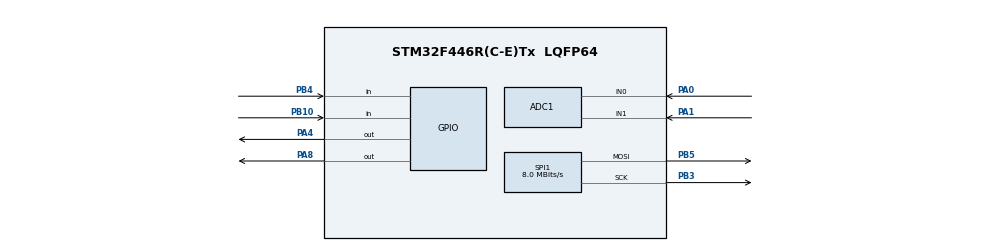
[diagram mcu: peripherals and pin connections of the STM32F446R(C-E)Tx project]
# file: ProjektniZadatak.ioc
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ADC1.Channel-0\#ChannelRegularConversion=ADC_CHANNEL_0
ADC1.Channel-1\#ChannelRegularConversion=ADC_CHANNEL_1
ADC1.ContinuousConvMode=DISABLE
ADC1.NbrOfConversion=2
ADC1.NbrOfConversionFlag=1
ADC1.Rank-0\#ChannelRegularConversion=1
ADC1.Rank-1\#ChannelRegularConversion=2
ADC1.SamplingTime-0\#ChannelRegularConversion=ADC_SAMPLETIME_84CYCLES
ADC1.SamplingTime-1\#ChannelRegularConversion=ADC_SAMPLETIME_84CYCLES
ADC1.master=1
Mcu.Family=STM32F4
Mcu.Name=STM32F446R(C-E)Tx
Mcu.Package=LQFP64
NVIC.PriorityGroup=NVIC_PRIORITYGROUP_4
PA0-WKUP.Signal=ADCx_IN0
PA1.Signal=ADCx_IN1
PA13.Mode=Serial_Wire
PA13.Signal=SYS_JTMS-SWDIO
PA14.Mode=Serial_Wire
PA14.Signal=SYS_JTCK-SWCLK
PA4.Signal=GPIO_Output
PA8.Signal=GPIO_Output
PB10.Signal=GPIO_Input
PB3.Mode=TX_Only_Simplex_Unidirect_Master
PB3.Signal=SPI1_SCK
PB4.Signal=GPIO_Input
PB5.Mode=TX_Only_Simplex_Unidirect_Master
PB5.Signal=SPI1_MOSI
ProjectManager.HeapSize=0x200
ProjectManager.StackSize=0x400
ProjectManager.TargetToolchain=STM32CubeIDE
RCC.CortexFreq_Value=16000000
RCC.USBFreq_Value=96000000
RCC.VCOOutputFreq_Value=192000000
SH.ADCx_IN0.0=ADC1_IN0,IN0
SH.ADCx_IN1.0=ADC1_IN1,IN1
SPI1.CalculateBaudRate=8.0 MBits/s
SPI1.Direction=SPI_DIRECTION_2LINES
SPI1.Mode=SPI_MODE_MASTER
SPI1.VirtualType=VM_MASTER
board=custom

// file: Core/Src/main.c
/* USER CODE BEGIN Header */
/**
  ******************************************************************************
  * @file           : main.c
  * @brief          : Main program body
  ******************************************************************************
  * @attention
  *
  * Copyright (c) 2026 STMicroelectronics.
  * All rights reserved.
  *
  * This software is licensed under terms that can be found in the LICENSE file
  * in the root directory of this software component.
  * If no LICENSE file comes with this software, it is provided AS-IS.
  *
  ******************************************************************************
  */
/* USER CODE END Header */
#include "main.h"
#include "adc.h"
#include "spi.h"
#include "gpio.h"

/* USER CODE BEGIN Includes */
void MAX_Send(uint8_t addr, uint8_t data)
{
    uint8_t tx[2] = {addr, data};

    HAL_GPIO_WritePin(GPIOA, GPIO_PIN_4, GPIO_PIN_RESET);
    HAL_SPI_Transmit(&hspi1, tx, 2, HAL_MAX_DELAY);
    HAL_GPIO_WritePin(GPIOA, GPIO_PIN_4, GPIO_PIN_SET);
}

void MAX_Init(void)
{
    MAX_Send(0x0F, 0x00); // test off
    MAX_Send(0x09, 0x00); // matrix mode
    MAX_Send(0x0B, 0x07); // scan all rows
    MAX_Send(0x0A, 0x08); // brightness
    MAX_Send(0x0C, 0x01); // normal mode ON
}

void MAX_Draw(uint8_t *buf)
{
    for (uint8_t i = 0; i < 8; i++)
    {
        MAX_Send(i + 1, buf[i]);
    }
}

uint8_t on[8]  = {0xFF,0xFF,0xFF,0xFF,0xFF,0xFF,0xFF,0xFF};
uint8_t Pos_1[8] = {0b10000000, 0b10000000, 0b00000000, 0b00000000,
		0b00000000, 0b00000000, 0b00000000, 0b00000000
};
uint8_t Pos_2[8] = {0b00000000, 0b10000000, 0b10000000, 0b00000000,
		0b00000000, 0b00000000, 0b00000000, 0b00000000
};
uint8_t Pos_3[8] = {0b00000000, 0b00000000, 0b10000000, 0b10000000,
		0b00000000, 0b00000000, 0b00000000, 0b00000000
};
uint8_t Pos_4[8] = {0b00000000, 0b00000000, 0b00000000, 0b10000000,
		0b10000000, 0b00000000, 0b00000000, 0b00000000};
uint8_t Pos_5[8] = {0b00000000, 0b00000000, 0b00000000, 0b00000000,
		0b10000000, 0b10000000, 0b00000000, 0b00000000
};
uint8_t Pos_6[8] = {0b00000000, 0b00000000, 0b00000000, 0b00000000,
		0b00000000, 0b10000000, 0b10000000, 0b00000000
};
uint8_t Pos_7[8] = {
		0b00000000, 0b00000000, 0b00000000, 0b00000000,
		0b00000000, 0b00000000, 0b10000000, 0b10000000
};
uint8_t smile[8] = {
    0b00111100, 0b01000010, 0b10100101, 0b10000001,
    0b10100101, 0b10011001, 0b01000010, 0b00111100
};
uint8_t num1[8] = {
    0b00011000, 0b00111000, 0b00011000, 0b00011000,
    0b00011000, 0b00011000, 0b00111100, 0b00000000
};
uint8_t num2[8] = {
    0b00111100, 0b01000010, 0b00000010, 0b00001100,
    0b00110000, 0b01000000, 0b01111110, 0b00000000
};
uint8_t num3[8] = {
    0b00111100, 0b01000010, 0b00000010, 0b00011100,
    0b00000010, 0b01000010, 0b00111100, 0b00000000
};
uint8_t off[8] = {0};

const uint8_t small_num_L[10][5] = {
    {0xE0, 0xA0, 0xA0, 0xA0, 0xE0}, // 0
    {0x40, 0xC0, 0x40, 0x40, 0xE0}, // 1
    {0xE0, 0x20, 0xE0, 0x80, 0xE0}, // 2
    {0xE0, 0x20, 0xE0, 0x20, 0xE0}, // 3
    {0xA0, 0xA0, 0xE0, 0x20, 0x20}, // 4
    {0xE0, 0x80, 0xE0, 0x20, 0xE0}, // 5
    {0xE0, 0x80, 0xE0, 0xA0, 0xE0}, // 6
    {0xE0, 0x20, 0x20, 0x20, 0x20}, // 7
    {0xE0, 0xA0, 0xE0, 0xA0, 0xE0}, // 8
    {0xE0, 0xA0, 0xE0, 0x20, 0xE0}  // 9
};

const uint8_t small_num_R[10][5] = {
    {0x0E, 0x0A, 0x0A, 0x0A, 0x0E}, // 0
    {0x04, 0x0C, 0x04, 0x04, 0x0E}, // 1
    {0x0E, 0x02, 0x0E, 0x08, 0x0E}, // 2
    {0x0E, 0x02, 0x0E, 0x02, 0x0E}, // 3
    {0x0A, 0x0A, 0x0E, 0x02, 0x02}, // 4
    {0x0E, 0x08, 0x0E, 0x02, 0x0E}, // 5
    {0x0E, 0x08, 0x0E, 0x0A, 0x0E}, // 6
    {0x0E, 0x02, 0x02, 0x02, 0x02}, // 7
    {0x0E, 0x0A, 0x0E, 0x0A, 0x0E}, // 8
    {0x0E, 0x0A, 0x0E, 0x02, 0x0E}  // 9
};
/* USER CODE END Includes */

/* USER CODE BEGIN PV */
uint8_t scoreP1 = 0;
uint8_t scoreP2 = 0;

uint8_t isPaused = 0;
uint8_t lastPause = 1;
uint8_t lastReset = 1;
/* USER CODE END PV */

void SystemClock_Config(void);

/* USER CODE BEGIN 0 */
void PlayTon(uint16_t frequency, uint16_t duration_ms)
{
    if (frequency == 0) return;

    uint32_t delay_us = 1000000 / (frequency * 2);
    uint32_t cycles = ((uint32_t)frequency * duration_ms) / 1000;

    for (uint32_t i = 0; i < cycles; i++)
    {
        HAL_GPIO_WritePin(GPIOA, GPIO_PIN_8, GPIO_PIN_SET);
        for (volatile uint32_t d = 0; d < delay_us * 2; d++) { __NOP(); }

        HAL_GPIO_WritePin(GPIOA, GPIO_PIN_8, GPIO_PIN_RESET);
        for (volatile uint32_t d = 0; d < delay_us * 2; d++) { __NOP(); }
    }
}

void ShowScore(uint8_t score1, uint8_t score2) {
    uint8_t buf[8] = {0};
    if (score1 > 9) score1 = 9;
    if (score2 > 9) score2 = 9;

    for (int i = 0; i < 5; i++) {
        buf[i + 1] = small_num_L[score1][i] | small_num_R[score2][i];
    }
    MAX_Draw(buf);
}
/* USER CODE END 0 */

int main(void)
{

  /* USER CODE BEGIN 1 */
	uint32_t pot1 = 0;
	uint32_t pot2 = 0;

	// Stanje loptice (Kreće s centra)
	int8_t ballX = 3;
	int8_t ballY = 3;
	int8_t ballDx = 1;
	int8_t ballDy = 0;

	uint32_t ballTimer = 0;
  /* USER CODE END 1 */

  /* MCU Configuration--------------------------------------------------------*/

  /* Reset of all peripherals, Initializes the Flash interface and the Systick. */
  HAL_Init();

  /* Configure the system clock */
  SystemClock_Config();

  /* Initialize all configured peripherals */
  MX_GPIO_Init();
  MX_ADC1_Init();
  MX_SPI1_Init();
  /* USER CODE BEGIN 2 */
  HAL_GPIO_WritePin(GPIOA, GPIO_PIN_4, GPIO_PIN_SET);
  HAL_Delay(100);

  MAX_Init();

  MAX_Draw(num3); HAL_Delay(500);
  MAX_Draw(num2); HAL_Delay(500);
  MAX_Draw(num1); HAL_Delay(500);
  MAX_Draw(off);  HAL_Delay(100);

  ballTimer = HAL_GetTick();
  /* USER CODE END 2 */

  /* Infinite loop */
  while (1)
  {

    /* USER CODE BEGIN 3 */

	  uint8_t pauseButton = HAL_GPIO_ReadPin(GPIOB, GPIO_PIN_10);
	  uint8_t resetButton = HAL_GPIO_ReadPin(GPIOB, GPIO_PIN_4);

	  //Pauza
	  if (lastPause == 1 && pauseButton == 0) {
	      isPaused = !isPaused;
	      PlayTon(2500, 40);
	      HAL_Delay(150);
	  }
	  lastPause = pauseButton;

	  //Restart
	  if (lastReset == 1 && resetButton == 0) {
	      isPaused = 0;
	      scoreP1 = 0; scoreP2 = 0;
	      ballX = 3; ballY = 3;
	      ballDx = 1; ballDy = 0;

	      PlayTon(3500, 100);

	      MAX_Draw(off);  HAL_Delay(100);
	      MAX_Draw(num3); HAL_Delay(400);
	      MAX_Draw(num2); HAL_Delay(400);
	      MAX_Draw(num1); HAL_Delay(400);

	      ballTimer = HAL_GetTick();
	      HAL_Delay(150);
	  }
	  lastReset = resetButton;

	  HAL_ADC_Start(&hadc1);
	  if (HAL_ADC_PollForConversion(&hadc1, 10) == HAL_OK) {
	      pot1 = HAL_ADC_GetValue(&hadc1);
	  }
	  if (HAL_ADC_PollForConversion(&hadc1, 10) == HAL_OK) {
	      pot2 = HAL_ADC_GetValue(&hadc1);
	  }
	  HAL_ADC_Stop(&hadc1);

	  uint8_t *p1_pos;
	  uint8_t *p2_pos;
	  uint8_t zaslon[8] = {0};

	  //pozicije palice 1. igrac
	  if      (pot1 <= 585)  p1_pos = Pos_1;
	  else if (pot1 <= 1170) p1_pos = Pos_2;
	  else if (pot1 <= 1755) p1_pos = Pos_3;
	  else if (pot1 <= 2340) p1_pos = Pos_4;
	  else if (pot1 <= 2925) p1_pos = Pos_5;
	  else if (pot1 <= 3510) p1_pos = Pos_6;
	  else                   p1_pos = Pos_7;

	  //pozicije palice 2. igraca
	  if      (pot2 <= 585)  p2_pos = Pos_1;
	  else if (pot2 <= 1170) p2_pos = Pos_2;
	  else if (pot2 <= 1755) p2_pos = Pos_3;
	  else if (pot2 <= 2340) p2_pos = Pos_4;
	  else if (pot2 <= 2925) p2_pos = Pos_5;
	  else if (pot2 <= 3510) p2_pos = Pos_6;
	  else                   p2_pos = Pos_7;

	  if (isPaused) {
	      for (int i = 0; i < 8; i++) {
	          zaslon[i] = p1_pos[i] | (p2_pos[i] >> 7);
	          if (ballY == i) zaslon[i] |= (0x80 >> ballX);
	      }
	      MAX_Draw(zaslon);
	      HAL_Delay(20);
	      continue;
	  }

	  if (HAL_GetTick() - ballTimer > 150) {
	      ballTimer = HAL_GetTick();

	      ballX += ballDx;
	      ballY += ballDy;

	      if (ballY <= 0) {
	          ballY = 0;
	          PlayTon(600, 15);
	          if (ballDy < 0) ballDy = -ballDy;
	      }

	      else if (ballY >= 7) {
	          ballY = 7;
	          PlayTon(600, 15);
	          if (ballDy > 0) ballDy = -ballDy;
	      }

	      //Igrac 1
	      if (ballX == 0) {
	          if (p1_pos[ballY] & 0x80) { //obrana
	              ballDx = 1;
	              PlayTon(1000, 25);
	              ballDy = (HAL_GetTick() % 5) - 2;
	          } else {
	              //gol
	              scoreP2++;
	              PlayTon(200, 300);

	              if (scoreP2 >= 10) { // POBJEDA IGRAČA 2
	                  PlayTon(2000, 100); HAL_Delay(50);
	                  PlayTon(2500, 100); HAL_Delay(50);
	                  PlayTon(3500, 300);
	                  MAX_Draw(smile); HAL_Delay(3000);
	                  scoreP1 = 0; scoreP2 = 0;
	              } else {
	                  ShowScore(scoreP1, scoreP2);
	                  HAL_Delay(1500);
	              }

	              ballX = 3; ballY = 3;
	              ballDx = 1;
	              ballDy = 0;

	              MAX_Draw(off);  HAL_Delay(100);
	              MAX_Draw(num3); HAL_Delay(500);
	              MAX_Draw(num2); HAL_Delay(500);
	              MAX_Draw(num1); HAL_Delay(500);
	              ballTimer = HAL_GetTick();
	          }
	      }

	      //Igrac 2
	      if (ballX == 7) {
	          if (p2_pos[ballY] & 0x80) { //obrana
	              ballDx = -1;
	              PlayTon(1000, 25);
	              ballDy = (HAL_GetTick() % 5) - 2;
	          } else {
	              //gol
	              scoreP1++;
	              PlayTon(200, 300);

	              if (scoreP1 >= 10) {
	                  PlayTon(2000, 100); HAL_Delay(50);
	                  PlayTon(2500, 100); HAL_Delay(50);
	                  PlayTon(3500, 300);
	                  MAX_Draw(smile); HAL_Delay(3000);
	                  scoreP1 = 0; scoreP2 = 0;
	              } else {
	                  ShowScore(scoreP1, scoreP2);
	                  HAL_Delay(1500);
	              }

	              ballX = 3; ballY = 3;
	              ballDx = -1;
	              ballDy = 0;

	              MAX_Draw(off);  HAL_Delay(100);
	              MAX_Draw(num3); HAL_Delay(500);
	              MAX_Draw(num2); HAL_Delay(500);
	              MAX_Draw(num1); HAL_Delay(500);
	              ballTimer = HAL_GetTick();
	          }
	      }
	  }

	  for (int i = 0; i < 8; i++) {
	      zaslon[i] = p1_pos[i] | (p2_pos[i] >> 7);

	      if (ballY == i) {
	          zaslon[i] |= (0x80 >> ballX);
	      }
	  }

	  MAX_Draw(zaslon);
	  HAL_Delay(20);
  }
  /* USER CODE END 3 */
}

void SystemClock_Config(void)
{
  RCC_OscInitTypeDef RCC_OscInitStruct = {0};
  RCC_ClkInitTypeDef RCC_ClkInitStruct = {0};

  /** Configure the main internal regulator output voltage
  */
  __HAL_RCC_PWR_CLK_ENABLE();
  __HAL_PWR_VOLTAGESCALING_CONFIG(PWR_REGULATOR_VOLTAGE_SCALE3);

  /** Initializes the RCC Oscillators according to the specified parameters
  * in the RCC_OscInitTypeDef structure.
  */
  RCC_OscInitStruct.OscillatorType = RCC_OSCILLATORTYPE_HSI;
  RCC_OscInitStruct.HSIState = RCC_HSI_ON;
  RCC_OscInitStruct.HSICalibrationValue = RCC_HSICALIBRATION_DEFAULT;
  RCC_OscInitStruct.PLL.PLLState = RCC_PLL_NONE;
  if (HAL_RCC_OscConfig(&RCC_OscInitStruct) != HAL_OK)
  {
    Error_Handler();
  }

  /** Initializes the CPU, AHB and APB buses clocks
  */
  RCC_ClkInitStruct.ClockType = RCC_CLOCKTYPE_HCLK|RCC_CLOCKTYPE_SYSCLK
                              |RCC_CLOCKTYPE_PCLK1|RCC_CLOCKTYPE_PCLK2;
  RCC_ClkInitStruct.SYSCLKSource = RCC_SYSCLKSOURCE_HSI;
  RCC_ClkInitStruct.AHBCLKDivider = RCC_SYSCLK_DIV1;
  RCC_ClkInitStruct.APB1CLKDivider = RCC_HCLK_DIV1;
  RCC_ClkInitStruct.APB2CLKDivider = RCC_HCLK_DIV1;

  if (HAL_RCC_ClockConfig(&RCC_ClkInitStruct, FLASH_LATENCY_0) != HAL_OK)
  {
    Error_Handler();
  }
}

void Error_Handler(void)
{
  __disable_irq();
  while (1)
  {
  }
}
